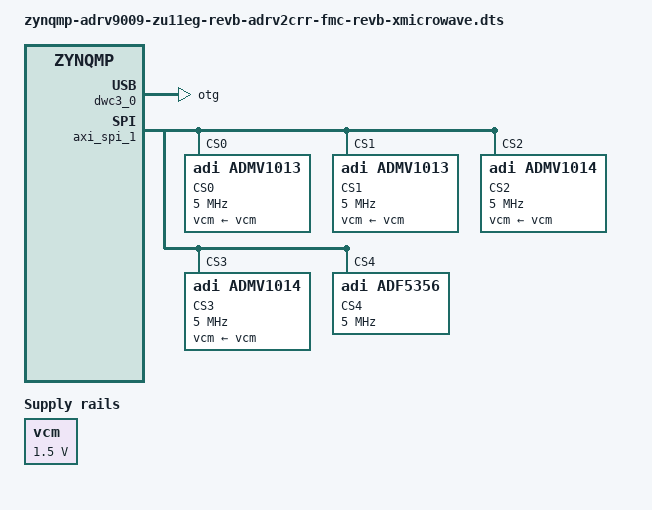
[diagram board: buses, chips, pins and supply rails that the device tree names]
// SPDX-License-Identifier: GPL-2.0
/*
 * ADRV2CRR-FMC using ADRV9009-ZU11EG Rev.B System on Module
 *
 * https://wiki.analog.com/resources/eval/user-guides/adrv9009
 * https://wiki.analog.com/resources/tools-software/linux-drivers/iio-transceiver/adrv9009
 * https://wiki.analog.com/resources/tools-software/linux-software/adrv9009_advanced_plugin
 * https://wiki.analog.com/resources/eval/user-guides/adrv9009-zu11eg/adrv2crr-fmc_carrier_board
 *
 * hdl_project: <adrv9009zu11eg/adrv2crr_fmc>
 * board_revision: <B>
 *
 * Copyright (C) 2019 Analog Devices Inc.
 */

#include "zynqmp-adrv9009-zu11eg-reva-adrv2crr-fmc-reva.dts"
#include "zynqmp-adrv9009-zu11eg-revb.dtsi"

/ {
	adf5356_clkin: clock@0 {
		compatible = "fixed-clock";

		clock-frequency = <100000000>;
		clock-output-names = "refclk";
		#clock-cells = <0>;
	};

	vcm: fixedregulator@0 {
		compatible = "regulator-fixed";
		regulator-name = "vcm";
		regulator-min-microvolt = <1500000>;
		regulator-max-microvolt = <1500000>;
		regulator-boot-on;
	};
};


&dwc3_0 {
	status = "okay";
	dr_mode = "otg";
};

&hmc7044_car {
	adi,pll1-clkin-frequencies = <122880000 30720000 0 38400000>;
	adi,pll1-ref-prio-ctrl = <0xb1>;  // priorities: clkin 1,0,3,2
	adi,pll1-ref-autorevert-enable;
	adi,clkin0-buffer-mode  = <0x07>; // buffer en, AC coupling, 100ohm termination
};

&hmc7044 {
	clocks = <&hmc7044_car 2>;
	clock-names = "clkin1";
};

&fpga_axi {
	axi_spi_1: spi@84000000 {
		#address-cells = <1>;
		#size-cells = <0>;
		bits-per-word = <8>;
		compatible = "xlnx,xps-spi-2.00.a";
		reg = <0x0 0x84000000 0x1000>;
		fifo-size = <16>;
		interrupts = <0 92 IRQ_TYPE_EDGE_RISING>;
		num-cs = <0x8>;
		xlnx,num-ss-bits = <0x8>;
		xlnx,spi-mode = <0>;
	};
};

&axi_spi_1 {
	admv1013_a@0 {
		label = "CS0";
		compatible = "adi,admv1013";
		reg = <0>;
		spi-max-frequency = <5000000>;
		clocks = <&lo_adf5356>;
		clock-names = "lo_in";
		clock-scales = <1 8>;
		vcm-supply = <&vcm>;
		adi,parity-en;
		adi,quad-se-mode = <9>;
		adi,mixer-if-en;
		adi,det-en;
	};

	admv1013_b@1 {
		label = "CS1";
		compatible = "adi,admv1013";
		reg = <1>;
		spi-max-frequency = <5000000>;
		clocks = <&lo_adf5356>;
		clock-names = "lo_in";
		clock-scales = <1 8>;
		vcm-supply = <&vcm>;
		adi,quad-se-mode = <9>;
		adi,parity-en;
		adi,mixer-if-en;
		adi,det-en;
	};

	admv1014_a@2 {
		label = "CS2";
		compatible = "adi,admv1014";
		reg = <2>;
		spi-max-frequency = <5000000>;
		clocks = <&lo_adf5356>;
		clock-names = "lo_in";
		clock-scales = <1 8>;
		vcm-supply = <&vcm>;
		adi,quad-se-mode = <6>;
		adi,p1db-comp = <3>;
		adi,det-prog = <4>;
		adi,parity-en;
		adi,bb-amp-gain-ctrl = <0>;
	};

	admv1014_b@3 {
		label = "CS3";
		compatible = "adi,admv1014";
		reg = <3>;
		spi-max-frequency = <5000000>;
		clocks = <&lo_adf5356>;
		clock-names = "lo_in";
		clock-scales = <1 8>;
		vcm-supply = <&vcm>;
		adi,quad-se-mode = <6>;
		adi,p1db-comp = <3>;
		adi,det-prog = <4>;
		adi,parity-en;
		adi,bb-amp-gain-ctrl = <0>;
	};

	lo_adf5356: adf5356@4 {
		label = "CS4";
		#clock-cells = <0>;
		compatible = "adi,adf5356";
		reg = <4>;
		spi-max-frequency = <5000000>;
		clocks = <&adf5356_clkin>;
		clock-names = "clkin";
		clock-output-names = "ADF5356";
		adi,charge-pump-current = <900>;
		adi,muxout-select = <6>;
		adi,muxout-level-3v3-enable;
		adi,mute-till-lock-enable;
		adi,output-a-power = <3>;
		adi,output-b-power = <0>;
		adi,charge-pump-negative-bleed-enable;
		adi,power-up-frequency = /bits/ 64 <6800000000>;
		adi,output-b-enable;
		adi,clock-shift = <2>;
		adi,reference-doubler-enable;
	};
};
